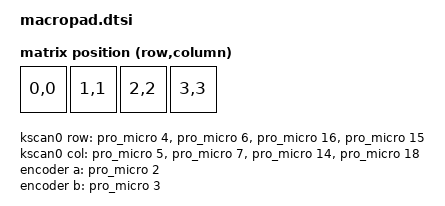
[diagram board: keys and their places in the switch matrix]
/*
 * SPDX-License-Identifier: MIT
 */

#include <dt-bindings/zmk/matrix_transform.h>
#include <physical_layouts.dtsi>

/ {
    chosen {
        zmk,kscan = &kscan0;
        zmk,physical-layout = &default_layout;
    };

    default_transform: keymap_transform_0 {
        compatible = "zmk,matrix-transform";
        columns = <4>;
        rows = <4>;
        map = <
                    RC(0,0)
                RC(1,1)
            RC(2,2)
        RC(3,3)
        >;
    };

    kscan0: kscan_0 {
        compatible = "zmk,kscan-gpio-matrix";
        wakeup-source;
        diode-direction = "col2row";

        col-gpios
            = <&pro_micro 5 GPIO_ACTIVE_HIGH>
            , <&pro_micro 7 GPIO_ACTIVE_HIGH>
            , <&pro_micro 14 GPIO_ACTIVE_HIGH>
            , <&pro_micro 18 GPIO_ACTIVE_HIGH>
            ;

        row-gpios
            = <&pro_micro 4 (GPIO_ACTIVE_HIGH | GPIO_PULL_DOWN)>
            , <&pro_micro 6 (GPIO_ACTIVE_HIGH | GPIO_PULL_DOWN)>
            , <&pro_micro 16 (GPIO_ACTIVE_HIGH | GPIO_PULL_DOWN)>
            , <&pro_micro 15 (GPIO_ACTIVE_HIGH | GPIO_PULL_DOWN)>
            ;
    };

    encoder: sensor_mt6701 {
        compatible = "alps,ec11";
        a-gpios = <&pro_micro 2 (GPIO_ACTIVE_HIGH | GPIO_PULL_UP)>;
        b-gpios = <&pro_micro 3 (GPIO_ACTIVE_HIGH | GPIO_PULL_UP)>;
        steps = <4096>;
        status = "okay";
    };

    sensors: keymap_sensors {
        compatible = "zmk,keymap-sensors";
        sensors = <&encoder>;
        triggers-per-rotation = <24>;
    };

    default_layout: default_layout {
        compatible = "zmk,physical-layout";
        display-name = "MACROPAD";

        transform = <&default_transform>;

        keys  //                w   h    x   y   rot rx ry
            = <&key_physical_attrs 100 100  0   0   0   0  0>
            , <&key_physical_attrs 100 100  100 0   0   0  0>
            , <&key_physical_attrs 100 100  200 0   0   0  0>
            , <&key_physical_attrs 100 100  300 0   0   0  0>
            ;
    };
};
